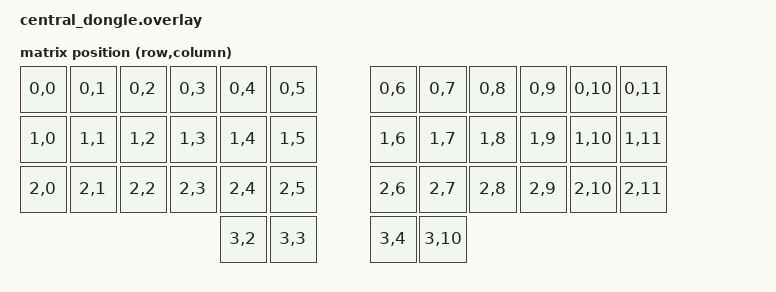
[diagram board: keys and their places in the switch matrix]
#include <dt-bindings/zmk/matrix_transform.h>

/ {
    chosen {
        zmk,kscan = &mock_kscan;
        zmk,matrix-transform = &default_transform;
        zephyr,display = &st7789v;
    };

    default_transform: keymap_transform_0 {
        compatible = "zmk,matrix-transform";
        columns = <12>;
        rows = <4>;
        map = <
	RC(0,0) RC(0,1) RC(0,2) RC(0,3) RC(0,4) RC(0,5) RC(0,6)  RC(0,7) RC(0,8) RC(0,9) RC(0,10) RC(0,11)
	RC(1,0) RC(1,1) RC(1,2) RC(1,3) RC(1,4) RC(1,5) RC(1,6)  RC(1,7) RC(1,8) RC(1,9) RC(1,10) RC(1,11)
	RC(2,0) RC(2,1) RC(2,2) RC(2,3) RC(2,4) RC(2,5) RC(2,6)  RC(2,7) RC(2,8) RC(2,9) RC(2,10) RC(2,11)
							RC(3,2) RC(3,3) RC(3,4) RC(3,10)
      >;
    };

    mock_kscan: kscan_0 {
        compatible = "zmk,kscan-mock";
        columns = <0>;
        rows = <0>;
        events = <0>;
    };
};

&pinctrl {
	spi0_default: spi0_default {
		group1 {
			psels = <NRF_PSEL(SPIM_SCK, 0, 17)>,<NRF_PSEL(SPIM_MOSI, 0, 20)>;
		};
	};

	spi0_sleep: spi0_sleep {
		group1 {
			psels = <NRF_PSEL(SPIM_SCK, 0, 17)>,<NRF_PSEL(SPIM_MOSI, 0, 20)>;
			low-power-enable;
		};
	};
};

&spi0 {
	compatible = "nordic,nrf-spim";
	status = "okay";
	pinctrl-0 = <&spi0_default>;
	pinctrl-1 = <&spi0_sleep>;
	cs-gpios = <&gpio0 11 GPIO_ACTIVE_LOW>;
	pinctrl-names = "default", "sleep";
	
	st7789v: st7789v@0 {
		compatible = "sitronix,st7789v";
		spi-max-frequency = <20000000>;
		reg = <0>;
		cmd-data-gpios = <&gpio0 24 GPIO_ACTIVE_LOW>;
		reset-gpios = <&gpio0 22 GPIO_ACTIVE_LOW>;
		width = <240>;
		height = <320>;
		x-offset = <0>;
		y-offset = <0>;
		vcom = <0x1f>;
		gctrl = <0x35>;
		vrhs = <0x12>;
		vdvs = <0x20>;
		mdac = <0x00>;
		lcm = <0x2c>;
		colmod = <0x55>;
		gamma = <0x01>;
		porch-param = [0c 0c 00 33 33];
		cmd2en-param = [5a 69 02 01];
		pwctrl1-param = [a4 a1];
		pvgam-param = [d0 08 11 08 0c 15 39 33 50 36 13 14 29 2d];
		nvgam-param = [d0 08 10 08 06 06 39 44 51 0b 16 14 2f 31];
		ram-param = [00 F0];
		rgb-param = [CD 08 14];
	};
};
